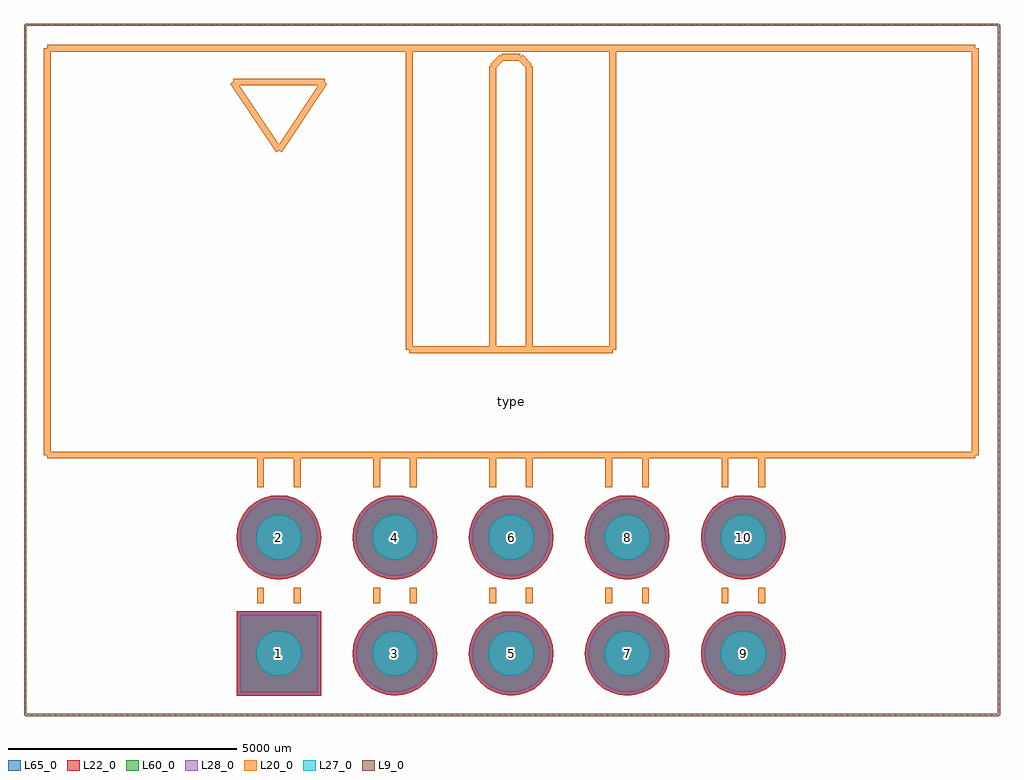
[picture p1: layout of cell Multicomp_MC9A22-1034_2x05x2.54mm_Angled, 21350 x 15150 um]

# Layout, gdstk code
import gdstk
lib = gdstk.Library(unit=1e-6, precision=1e-09)
def R(c, l, rs):  # rectangles x0, y0, x1, y1
    for r in rs: c.add(gdstk.rectangle(r[:2], r[2:], *l))
def P(c, l, *ps):  # polygons
    for p in ps: c.add(gdstk.Polygon(p, *l))
L9_0 = (9, 0)
L20_0 = (20, 0)
L22_0 = (22, 0)
L27_0 = (27, 0)
L28_0 = (28, 0)
L60_0 = (60, 0)
L65_0 = (65, 0)

multicomp_mc9a22_1034_2x = lib.new_cell('Multicomp_MC9A22-1034_2x05x2.54mm_Angled')
R(multicomp_mc9a22_1034_2x, L22_0, [(-925,-925,925,925)])
P(multicomp_mc9a22_1034_2x, L22_0, [(11085,2540),(11067.226,2720.459),(11014.589,2893.982),(10929.109,3053.902),(10814.074,3194.074),(10673.902,3309.109),(10513.982,3394.589),(10340.459,3447.226),(10160,3465),(9979.541,3447.226),(9806.018,3394.589),(9646.098,3309.109),(9505.926,3194.074),(9390.891,3053.902),(9305.411,2893.982),(9252.774,2720.459),(9235,2540),(9252.774,2359.541),(9305.411,2186.018),(9390.891,2026.098),(9505.926,1885.926),(9646.098,1770.891),(9806.018,1685.411),(9979.541,1632.774),(10160,1615),(10340.459,1632.774),(10513.982,1685.411),(10673.902,1770.891),(10814.074,1885.926),(10929.109,2026.098),(11014.589,2186.018),(11067.226,2359.541)],
  [(11085,0),(11067.226,180.459),(11014.589,353.982),(10929.109,513.902),(10814.074,654.074),(10673.902,769.109),(10513.982,854.589),(10340.459,907.226),(10160,925),(9979.541,907.226),(9806.018,854.589),(9646.098,769.109),(9505.926,654.074),(9390.891,513.902),(9305.411,353.982),(9252.774,180.459),(9235,0),(9252.774,-180.459),(9305.411,-353.982),(9390.891,-513.902),(9505.926,-654.074),(9646.098,-769.109),(9806.018,-854.589),(9979.541,-907.226),(10160,-925),(10340.459,-907.226),(10513.982,-854.589),(10673.902,-769.109),(10814.074,-654.074),(10929.109,-513.902),(11014.589,-353.982),(11067.226,-180.459)],
  [(8545,2540),(8527.226,2720.459),(8474.589,2893.982),(8389.109,3053.902),(8274.074,3194.074),(8133.902,3309.109),(7973.982,3394.589),(7800.459,3447.226),(7620,3465),(7439.541,3447.226),(7266.018,3394.589),(7106.098,3309.109),(6965.926,3194.074),(6850.891,3053.902),(6765.411,2893.982),(6712.774,2720.459),(6695,2540),(6712.774,2359.541),(6765.411,2186.018),(6850.891,2026.098),(6965.926,1885.926),(7106.098,1770.891),(7266.018,1685.411),(7439.541,1632.774),(7620,1615),(7800.459,1632.774),(7973.982,1685.411),(8133.902,1770.891),(8274.074,1885.926),(8389.109,2026.098),(8474.589,2186.018),(8527.226,2359.541)],
  [(8545,0),(8527.226,180.459),(8474.589,353.982),(8389.109,513.902),(8274.074,654.074),(8133.902,769.109),(7973.982,854.589),(7800.459,907.226),(7620,925),(7439.541,907.226),(7266.018,854.589),(7106.098,769.109),(6965.926,654.074),(6850.891,513.902),(6765.411,353.982),(6712.774,180.459),(6695,0),(6712.774,-180.459),(6765.411,-353.982),(6850.891,-513.902),(6965.926,-654.074),(7106.098,-769.109),(7266.018,-854.589),(7439.541,-907.226),(7620,-925),(7800.459,-907.226),(7973.982,-854.589),(8133.902,-769.109),(8274.074,-654.074),(8389.109,-513.902),(8474.589,-353.982),(8527.226,-180.459)],
  [(6005,2540),(5987.226,2720.459),(5934.589,2893.982),(5849.109,3053.902),(5734.074,3194.074),(5593.902,3309.109),(5433.982,3394.589),(5260.459,3447.226),(5080,3465),(4899.541,3447.226),(4726.018,3394.589),(4566.098,3309.109),(4425.926,3194.074),(4310.891,3053.902),(4225.411,2893.982),(4172.774,2720.459),(4155,2540),(4172.774,2359.541),(4225.411,2186.018),(4310.891,2026.098),(4425.926,1885.926),(4566.098,1770.891),(4726.018,1685.411),(4899.541,1632.774),(5080,1615),(5260.459,1632.774),(5433.982,1685.411),(5593.902,1770.891),(5734.074,1885.926),(5849.109,2026.098),(5934.589,2186.018),(5987.226,2359.541)],
  [(6005,0),(5987.226,180.459),(5934.589,353.982),(5849.109,513.902),(5734.074,654.074),(5593.902,769.109),(5433.982,854.589),(5260.459,907.226),(5080,925),(4899.541,907.226),(4726.018,854.589),(4566.098,769.109),(4425.926,654.074),(4310.891,513.902),(4225.411,353.982),(4172.774,180.459),(4155,0),(4172.774,-180.459),(4225.411,-353.982),(4310.891,-513.902),(4425.926,-654.074),(4566.098,-769.109),(4726.018,-854.589),(4899.541,-907.226),(5080,-925),(5260.459,-907.226),(5433.982,-854.589),(5593.902,-769.109),(5734.074,-654.074),(5849.109,-513.902),(5934.589,-353.982),(5987.226,-180.459)],
  [(3465,2540),(3447.226,2720.459),(3394.589,2893.982),(3309.109,3053.902),(3194.074,3194.074),(3053.902,3309.109),(2893.982,3394.589),(2720.459,3447.226),(2540,3465),(2359.541,3447.226),(2186.018,3394.589),(2026.098,3309.109),(1885.926,3194.074),(1770.891,3053.902),(1685.411,2893.982),(1632.774,2720.459),(1615,2540),(1632.774,2359.541),(1685.411,2186.018),(1770.891,2026.098),(1885.926,1885.926),(2026.098,1770.891),(2186.018,1685.411),(2359.541,1632.774),(2540,1615),(2720.459,1632.774),(2893.982,1685.411),(3053.902,1770.891),(3194.074,1885.926),(3309.109,2026.098),(3394.589,2186.018),(3447.226,2359.541)],
  [(3465,0),(3447.226,180.459),(3394.589,353.982),(3309.109,513.902),(3194.074,654.074),(3053.902,769.109),(2893.982,854.589),(2720.459,907.226),(2540,925),(2359.541,907.226),(2186.018,854.589),(2026.098,769.109),(1885.926,654.074),(1770.891,513.902),(1685.411,353.982),(1632.774,180.459),(1615,0),(1632.774,-180.459),(1685.411,-353.982),(1770.891,-513.902),(1885.926,-654.074),(2026.098,-769.109),(2186.018,-854.589),(2359.541,-907.226),(2540,-925),(2720.459,-907.226),(2893.982,-854.589),(3053.902,-769.109),(3194.074,-654.074),(3309.109,-513.902),(3394.589,-353.982),(3447.226,-180.459)],
  [(925,2540),(907.226,2720.459),(854.589,2893.982),(769.109,3053.902),(654.074,3194.074),(513.902,3309.109),(353.982,3394.589),(180.459,3447.226),(0,3465),(-180.459,3447.226),(-353.982,3394.589),(-513.902,3309.109),(-654.074,3194.074),(-769.109,3053.902),(-854.589,2893.982),(-907.226,2720.459),(-925,2540),(-907.226,2359.541),(-854.589,2186.018),(-769.109,2026.098),(-654.074,1885.926),(-513.902,1770.891),(-353.982,1685.411),(-180.459,1632.774),(0,1615),(180.459,1632.774),(353.982,1685.411),(513.902,1770.891),(654.074,1885.926),(769.109,2026.098),(854.589,2186.018),(907.226,2359.541)])
P(multicomp_mc9a22_1034_2x, L27_0, [(10659.999,2540),(10650.392,2637.545),(10621.939,2731.341),(10575.734,2817.785),(10513.553,2893.553),(10437.785,2955.734),(10351.341,3001.939),(10257.545,3030.392),(10160,3039.999),(10062.455,3030.392),(9968.659,3001.939),(9882.215,2955.734),(9806.447,2893.553),(9744.266,2817.785),(9698.061,2731.341),(9669.608,2637.545),(9660.001,2540),(9669.608,2442.455),(9698.061,2348.659),(9744.266,2262.215),(9806.447,2186.447),(9882.215,2124.266),(9968.659,2078.061),(10062.455,2049.608),(10160,2040.001),(10257.545,2049.608),(10351.341,2078.061),(10437.785,2124.266),(10513.553,2186.447),(10575.734,2262.215),(10621.939,2348.659),(10650.392,2442.455)],
  [(10659.999,0),(10650.392,97.545),(10621.939,191.341),(10575.734,277.785),(10513.553,353.553),(10437.785,415.734),(10351.341,461.939),(10257.545,490.392),(10160,499.999),(10062.455,490.392),(9968.659,461.939),(9882.215,415.734),(9806.447,353.553),(9744.266,277.785),(9698.061,191.341),(9669.608,97.545),(9660.001,0),(9669.608,-97.545),(9698.061,-191.341),(9744.266,-277.785),(9806.447,-353.553),(9882.215,-415.734),(9968.659,-461.939),(10062.455,-490.392),(10160,-499.999),(10257.545,-490.392),(10351.341,-461.939),(10437.785,-415.734),(10513.553,-353.553),(10575.734,-277.785),(10621.939,-191.341),(10650.392,-97.545)],
  [(8119.999,2540),(8110.392,2637.545),(8081.939,2731.341),(8035.734,2817.785),(7973.553,2893.553),(7897.785,2955.734),(7811.341,3001.939),(7717.545,3030.392),(7620,3039.999),(7522.455,3030.392),(7428.659,3001.939),(7342.215,2955.734),(7266.447,2893.553),(7204.266,2817.785),(7158.061,2731.341),(7129.608,2637.545),(7120.001,2540),(7129.608,2442.455),(7158.061,2348.659),(7204.266,2262.215),(7266.447,2186.447),(7342.215,2124.266),(7428.659,2078.061),(7522.455,2049.608),(7620,2040.001),(7717.545,2049.608),(7811.341,2078.061),(7897.785,2124.266),(7973.553,2186.447),(8035.734,2262.215),(8081.939,2348.659),(8110.392,2442.455)],
  [(8119.999,0),(8110.392,97.545),(8081.939,191.341),(8035.734,277.785),(7973.553,353.553),(7897.785,415.734),(7811.341,461.939),(7717.545,490.392),(7620,499.999),(7522.455,490.392),(7428.659,461.939),(7342.215,415.734),(7266.447,353.553),(7204.266,277.785),(7158.061,191.341),(7129.608,97.545),(7120.001,0),(7129.608,-97.545),(7158.061,-191.341),(7204.266,-277.785),(7266.447,-353.553),(7342.215,-415.734),(7428.659,-461.939),(7522.455,-490.392),(7620,-499.999),(7717.545,-490.392),(7811.341,-461.939),(7897.785,-415.734),(7973.553,-353.553),(8035.734,-277.785),(8081.939,-191.341),(8110.392,-97.545)],
  [(5579.999,2540),(5570.392,2637.545),(5541.939,2731.341),(5495.734,2817.785),(5433.553,2893.553),(5357.785,2955.734),(5271.341,3001.939),(5177.545,3030.392),(5080,3039.999),(4982.455,3030.392),(4888.659,3001.939),(4802.215,2955.734),(4726.447,2893.553),(4664.266,2817.785),(4618.061,2731.341),(4589.608,2637.545),(4580.001,2540),(4589.608,2442.455),(4618.061,2348.659),(4664.266,2262.215),(4726.447,2186.447),(4802.215,2124.266),(4888.659,2078.061),(4982.455,2049.608),(5080,2040.001),(5177.545,2049.608),(5271.341,2078.061),(5357.785,2124.266),(5433.553,2186.447),(5495.734,2262.215),(5541.939,2348.659),(5570.392,2442.455)],
  [(5579.999,0),(5570.392,97.545),(5541.939,191.341),(5495.734,277.785),(5433.553,353.553),(5357.785,415.734),(5271.341,461.939),(5177.545,490.392),(5080,499.999),(4982.455,490.392),(4888.659,461.939),(4802.215,415.734),(4726.447,353.553),(4664.266,277.785),(4618.061,191.341),(4589.608,97.545),(4580.001,0),(4589.608,-97.545),(4618.061,-191.341),(4664.266,-277.785),(4726.447,-353.553),(4802.215,-415.734),(4888.659,-461.939),(4982.455,-490.392),(5080,-499.999),(5177.545,-490.392),(5271.341,-461.939),(5357.785,-415.734),(5433.553,-353.553),(5495.734,-277.785),(5541.939,-191.341),(5570.392,-97.545)],
  [(3039.999,2540),(3030.392,2637.545),(3001.939,2731.341),(2955.734,2817.785),(2893.553,2893.553),(2817.785,2955.734),(2731.341,3001.939),(2637.545,3030.392),(2540,3039.999),(2442.455,3030.392),(2348.659,3001.939),(2262.215,2955.734),(2186.447,2893.553),(2124.266,2817.785),(2078.061,2731.341),(2049.608,2637.545),(2040.001,2540),(2049.608,2442.455),(2078.061,2348.659),(2124.266,2262.215),(2186.447,2186.447),(2262.215,2124.266),(2348.659,2078.061),(2442.455,2049.608),(2540,2040.001),(2637.545,2049.608),(2731.341,2078.061),(2817.785,2124.266),(2893.553,2186.447),(2955.734,2262.215),(3001.939,2348.659),(3030.392,2442.455)],
  [(3039.999,0),(3030.392,97.545),(3001.939,191.341),(2955.734,277.785),(2893.553,353.553),(2817.785,415.734),(2731.341,461.939),(2637.545,490.392),(2540,499.999),(2442.455,490.392),(2348.659,461.939),(2262.215,415.734),(2186.447,353.553),(2124.266,277.785),(2078.061,191.341),(2049.608,97.545),(2040.001,0),(2049.608,-97.545),(2078.061,-191.341),(2124.266,-277.785),(2186.447,-353.553),(2262.215,-415.734),(2348.659,-461.939),(2442.455,-490.392),(2540,-499.999),(2637.545,-490.392),(2731.341,-461.939),(2817.785,-415.734),(2893.553,-353.553),(2955.734,-277.785),(3001.939,-191.341),(3030.392,-97.545)],
  [(499.999,2540),(490.392,2637.545),(461.939,2731.341),(415.734,2817.785),(353.553,2893.553),(277.785,2955.734),(191.341,3001.939),(97.545,3030.392),(0,3039.999),(-97.545,3030.392),(-191.341,3001.939),(-277.785,2955.734),(-353.553,2893.553),(-415.734,2817.785),(-461.939,2731.341),(-490.392,2637.545),(-499.999,2540),(-490.392,2442.455),(-461.939,2348.659),(-415.734,2262.215),(-353.553,2186.447),(-277.785,2124.266),(-191.341,2078.061),(-97.545,2049.608),(0,2040.001),(97.545,2049.608),(191.341,2078.061),(277.785,2124.266),(353.553,2186.447),(415.734,2262.215),(461.939,2348.659),(490.392,2442.455)],
  [(499.999,0),(490.392,97.545),(461.939,191.341),(415.734,277.785),(353.553,353.553),(277.785,415.734),(191.341,461.939),(97.545,490.392),(0,499.999),(-97.545,490.392),(-191.341,461.939),(-277.785,415.734),(-353.553,353.553),(-415.734,277.785),(-461.939,191.341),(-490.392,97.545),(-499.999,0),(-490.392,-97.545),(-461.939,-191.341),(-415.734,-277.785),(-353.553,-353.553),(-277.785,-415.734),(-191.341,-461.939),(-97.545,-490.392),(0,-499.999),(97.545,-490.392),(191.341,-461.939),(277.785,-415.734),(353.553,-353.553),(415.734,-277.785),(461.939,-191.341),(490.392,-97.545)])
R(multicomp_mc9a22_1034_2x, L28_0, [(-850,-850,850,850)])
P(multicomp_mc9a22_1034_2x, L28_0, [(11010,2540),(10993.667,2705.827),(10945.298,2865.281),(10866.749,3012.235),(10761.041,3141.041),(10632.235,3246.749),(10485.281,3325.298),(10325.827,3373.667),(10160,3390),(9994.173,3373.667),(9834.719,3325.298),(9687.765,3246.749),(9558.959,3141.041),(9453.251,3012.235),(9374.702,2865.281),(9326.333,2705.827),(9310,2540),(9326.333,2374.173),(9374.702,2214.719),(9453.251,2067.765),(9558.959,1938.959),(9687.765,1833.251),(9834.719,1754.702),(9994.173,1706.333),(10160,1690),(10325.827,1706.333),(10485.281,1754.702),(10632.235,1833.251),(10761.041,1938.959),(10866.749,2067.765),(10945.298,2214.719),(10993.667,2374.173)],
  [(11010,0),(10993.667,165.827),(10945.298,325.281),(10866.749,472.235),(10761.041,601.041),(10632.235,706.749),(10485.281,785.298),(10325.827,833.667),(10160,850),(9994.173,833.667),(9834.719,785.298),(9687.765,706.749),(9558.959,601.041),(9453.251,472.235),(9374.702,325.281),(9326.333,165.827),(9310,0),(9326.333,-165.827),(9374.702,-325.281),(9453.251,-472.235),(9558.959,-601.041),(9687.765,-706.749),(9834.719,-785.298),(9994.173,-833.667),(10160,-850),(10325.827,-833.667),(10485.281,-785.298),(10632.235,-706.749),(10761.041,-601.041),(10866.749,-472.235),(10945.298,-325.281),(10993.667,-165.827)],
  [(8470,2540),(8453.667,2705.827),(8405.298,2865.281),(8326.749,3012.235),(8221.041,3141.041),(8092.235,3246.749),(7945.281,3325.298),(7785.827,3373.667),(7620,3390),(7454.173,3373.667),(7294.719,3325.298),(7147.765,3246.749),(7018.959,3141.041),(6913.251,3012.235),(6834.702,2865.281),(6786.333,2705.827),(6770,2540),(6786.333,2374.173),(6834.702,2214.719),(6913.251,2067.765),(7018.959,1938.959),(7147.765,1833.251),(7294.719,1754.702),(7454.173,1706.333),(7620,1690),(7785.827,1706.333),(7945.281,1754.702),(8092.235,1833.251),(8221.041,1938.959),(8326.749,2067.765),(8405.298,2214.719),(8453.667,2374.173)],
  [(8470,0),(8453.667,165.827),(8405.298,325.281),(8326.749,472.235),(8221.041,601.041),(8092.235,706.749),(7945.281,785.298),(7785.827,833.667),(7620,850),(7454.173,833.667),(7294.719,785.298),(7147.765,706.749),(7018.959,601.041),(6913.251,472.235),(6834.702,325.281),(6786.333,165.827),(6770,0),(6786.333,-165.827),(6834.702,-325.281),(6913.251,-472.235),(7018.959,-601.041),(7147.765,-706.749),(7294.719,-785.298),(7454.173,-833.667),(7620,-850),(7785.827,-833.667),(7945.281,-785.298),(8092.235,-706.749),(8221.041,-601.041),(8326.749,-472.235),(8405.298,-325.281),(8453.667,-165.827)],
  [(5930,2540),(5913.667,2705.827),(5865.298,2865.281),(5786.749,3012.235),(5681.041,3141.041),(5552.235,3246.749),(5405.281,3325.298),(5245.827,3373.667),(5080,3390),(4914.173,3373.667),(4754.719,3325.298),(4607.765,3246.749),(4478.959,3141.041),(4373.251,3012.235),(4294.702,2865.281),(4246.333,2705.827),(4230,2540),(4246.333,2374.173),(4294.702,2214.719),(4373.251,2067.765),(4478.959,1938.959),(4607.765,1833.251),(4754.719,1754.702),(4914.173,1706.333),(5080,1690),(5245.827,1706.333),(5405.281,1754.702),(5552.235,1833.251),(5681.041,1938.959),(5786.749,2067.765),(5865.298,2214.719),(5913.667,2374.173)],
  [(5930,0),(5913.667,165.827),(5865.298,325.281),(5786.749,472.235),(5681.041,601.041),(5552.235,706.749),(5405.281,785.298),(5245.827,833.667),(5080,850),(4914.173,833.667),(4754.719,785.298),(4607.765,706.749),(4478.959,601.041),(4373.251,472.235),(4294.702,325.281),(4246.333,165.827),(4230,0),(4246.333,-165.827),(4294.702,-325.281),(4373.251,-472.235),(4478.959,-601.041),(4607.765,-706.749),(4754.719,-785.298),(4914.173,-833.667),(5080,-850),(5245.827,-833.667),(5405.281,-785.298),(5552.235,-706.749),(5681.041,-601.041),(5786.749,-472.235),(5865.298,-325.281),(5913.667,-165.827)],
  [(3390,2540),(3373.667,2705.827),(3325.298,2865.281),(3246.749,3012.235),(3141.041,3141.041),(3012.235,3246.749),(2865.281,3325.298),(2705.827,3373.667),(2540,3390),(2374.173,3373.667),(2214.719,3325.298),(2067.765,3246.749),(1938.959,3141.041),(1833.251,3012.235),(1754.702,2865.281),(1706.333,2705.827),(1690,2540),(1706.333,2374.173),(1754.702,2214.719),(1833.251,2067.765),(1938.959,1938.959),(2067.765,1833.251),(2214.719,1754.702),(2374.173,1706.333),(2540,1690),(2705.827,1706.333),(2865.281,1754.702),(3012.235,1833.251),(3141.041,1938.959),(3246.749,2067.765),(3325.298,2214.719),(3373.667,2374.173)],
  [(3390,0),(3373.667,165.827),(3325.298,325.281),(3246.749,472.235),(3141.041,601.041),(3012.235,706.749),(2865.281,785.298),(2705.827,833.667),(2540,850),(2374.173,833.667),(2214.719,785.298),(2067.765,706.749),(1938.959,601.041),(1833.251,472.235),(1754.702,325.281),(1706.333,165.827),(1690,0),(1706.333,-165.827),(1754.702,-325.281),(1833.251,-472.235),(1938.959,-601.041),(2067.765,-706.749),(2214.719,-785.298),(2374.173,-833.667),(2540,-850),(2705.827,-833.667),(2865.281,-785.298),(3012.235,-706.749),(3141.041,-601.041),(3246.749,-472.235),(3325.298,-325.281),(3373.667,-165.827)],
  [(850,2540),(833.667,2705.827),(785.298,2865.281),(706.749,3012.235),(601.041,3141.041),(472.235,3246.749),(325.281,3325.298),(165.827,3373.667),(0,3390),(-165.827,3373.667),(-325.281,3325.298),(-472.235,3246.749),(-601.041,3141.041),(-706.749,3012.235),(-785.298,2865.281),(-833.667,2705.827),(-850,2540),(-833.667,2374.173),(-785.298,2214.719),(-706.749,2067.765),(-601.041,1938.959),(-472.235,1833.251),(-325.281,1754.702),(-165.827,1706.333),(0,1690),(165.827,1706.333),(325.281,1754.702),(472.235,1833.251),(601.041,1938.959),(706.749,2067.765),(785.298,2214.719),(833.667,2374.173)])
R(multicomp_mc9a22_1034_2x, L60_0, [(-850,-850,850,850)])
P(multicomp_mc9a22_1034_2x, L60_0, [(11010,2540),(10993.667,2705.827),(10945.298,2865.281),(10866.749,3012.235),(10761.041,3141.041),(10632.235,3246.749),(10485.281,3325.298),(10325.827,3373.667),(10160,3390),(9994.173,3373.667),(9834.719,3325.298),(9687.765,3246.749),(9558.959,3141.041),(9453.251,3012.235),(9374.702,2865.281),(9326.333,2705.827),(9310,2540),(9326.333,2374.173),(9374.702,2214.719),(9453.251,2067.765),(9558.959,1938.959),(9687.765,1833.251),(9834.719,1754.702),(9994.173,1706.333),(10160,1690),(10325.827,1706.333),(10485.281,1754.702),(10632.235,1833.251),(10761.041,1938.959),(10866.749,2067.765),(10945.298,2214.719),(10993.667,2374.173)],
  [(11010,0),(10993.667,165.827),(10945.298,325.281),(10866.749,472.235),(10761.041,601.041),(10632.235,706.749),(10485.281,785.298),(10325.827,833.667),(10160,850),(9994.173,833.667),(9834.719,785.298),(9687.765,706.749),(9558.959,601.041),(9453.251,472.235),(9374.702,325.281),(9326.333,165.827),(9310,0),(9326.333,-165.827),(9374.702,-325.281),(9453.251,-472.235),(9558.959,-601.041),(9687.765,-706.749),(9834.719,-785.298),(9994.173,-833.667),(10160,-850),(10325.827,-833.667),(10485.281,-785.298),(10632.235,-706.749),(10761.041,-601.041),(10866.749,-472.235),(10945.298,-325.281),(10993.667,-165.827)],
  [(8470,2540),(8453.667,2705.827),(8405.298,2865.281),(8326.749,3012.235),(8221.041,3141.041),(8092.235,3246.749),(7945.281,3325.298),(7785.827,3373.667),(7620,3390),(7454.173,3373.667),(7294.719,3325.298),(7147.765,3246.749),(7018.959,3141.041),(6913.251,3012.235),(6834.702,2865.281),(6786.333,2705.827),(6770,2540),(6786.333,2374.173),(6834.702,2214.719),(6913.251,2067.765),(7018.959,1938.959),(7147.765,1833.251),(7294.719,1754.702),(7454.173,1706.333),(7620,1690),(7785.827,1706.333),(7945.281,1754.702),(8092.235,1833.251),(8221.041,1938.959),(8326.749,2067.765),(8405.298,2214.719),(8453.667,2374.173)],
  [(8470,0),(8453.667,165.827),(8405.298,325.281),(8326.749,472.235),(8221.041,601.041),(8092.235,706.749),(7945.281,785.298),(7785.827,833.667),(7620,850),(7454.173,833.667),(7294.719,785.298),(7147.765,706.749),(7018.959,601.041),(6913.251,472.235),(6834.702,325.281),(6786.333,165.827),(6770,0),(6786.333,-165.827),(6834.702,-325.281),(6913.251,-472.235),(7018.959,-601.041),(7147.765,-706.749),(7294.719,-785.298),(7454.173,-833.667),(7620,-850),(7785.827,-833.667),(7945.281,-785.298),(8092.235,-706.749),(8221.041,-601.041),(8326.749,-472.235),(8405.298,-325.281),(8453.667,-165.827)],
  [(5930,2540),(5913.667,2705.827),(5865.298,2865.281),(5786.749,3012.235),(5681.041,3141.041),(5552.235,3246.749),(5405.281,3325.298),(5245.827,3373.667),(5080,3390),(4914.173,3373.667),(4754.719,3325.298),(4607.765,3246.749),(4478.959,3141.041),(4373.251,3012.235),(4294.702,2865.281),(4246.333,2705.827),(4230,2540),(4246.333,2374.173),(4294.702,2214.719),(4373.251,2067.765),(4478.959,1938.959),(4607.765,1833.251),(4754.719,1754.702),(4914.173,1706.333),(5080,1690),(5245.827,1706.333),(5405.281,1754.702),(5552.235,1833.251),(5681.041,1938.959),(5786.749,2067.765),(5865.298,2214.719),(5913.667,2374.173)],
  [(5930,0),(5913.667,165.827),(5865.298,325.281),(5786.749,472.235),(5681.041,601.041),(5552.235,706.749),(5405.281,785.298),(5245.827,833.667),(5080,850),(4914.173,833.667),(4754.719,785.298),(4607.765,706.749),(4478.959,601.041),(4373.251,472.235),(4294.702,325.281),(4246.333,165.827),(4230,0),(4246.333,-165.827),(4294.702,-325.281),(4373.251,-472.235),(4478.959,-601.041),(4607.765,-706.749),(4754.719,-785.298),(4914.173,-833.667),(5080,-850),(5245.827,-833.667),(5405.281,-785.298),(5552.235,-706.749),(5681.041,-601.041),(5786.749,-472.235),(5865.298,-325.281),(5913.667,-165.827)],
  [(3390,2540),(3373.667,2705.827),(3325.298,2865.281),(3246.749,3012.235),(3141.041,3141.041),(3012.235,3246.749),(2865.281,3325.298),(2705.827,3373.667),(2540,3390),(2374.173,3373.667),(2214.719,3325.298),(2067.765,3246.749),(1938.959,3141.041),(1833.251,3012.235),(1754.702,2865.281),(1706.333,2705.827),(1690,2540),(1706.333,2374.173),(1754.702,2214.719),(1833.251,2067.765),(1938.959,1938.959),(2067.765,1833.251),(2214.719,1754.702),(2374.173,1706.333),(2540,1690),(2705.827,1706.333),(2865.281,1754.702),(3012.235,1833.251),(3141.041,1938.959),(3246.749,2067.765),(3325.298,2214.719),(3373.667,2374.173)],
  [(3390,0),(3373.667,165.827),(3325.298,325.281),(3246.749,472.235),(3141.041,601.041),(3012.235,706.749),(2865.281,785.298),(2705.827,833.667),(2540,850),(2374.173,833.667),(2214.719,785.298),(2067.765,706.749),(1938.959,601.041),(1833.251,472.235),(1754.702,325.281),(1706.333,165.827),(1690,0),(1706.333,-165.827),(1754.702,-325.281),(1833.251,-472.235),(1938.959,-601.041),(2067.765,-706.749),(2214.719,-785.298),(2374.173,-833.667),(2540,-850),(2705.827,-833.667),(2865.281,-785.298),(3012.235,-706.749),(3141.041,-601.041),(3246.749,-472.235),(3325.298,-325.281),(3373.667,-165.827)],
  [(850,2540),(833.667,2705.827),(785.298,2865.281),(706.749,3012.235),(601.041,3141.041),(472.235,3246.749),(325.281,3325.298),(165.827,3373.667),(0,3390),(-165.827,3373.667),(-325.281,3325.298),(-472.235,3246.749),(-601.041,3141.041),(-706.749,3012.235),(-785.298,2865.281),(-833.667,2705.827),(-850,2540),(-833.667,2374.173),(-785.298,2214.719),(-706.749,2067.765),(-601.041,1938.959),(-472.235,1833.251),(-325.281,1754.702),(-165.827,1706.333),(0,1690),(165.827,1706.333),(325.281,1754.702),(472.235,1833.251),(601.041,1938.959),(706.749,2067.765),(785.298,2214.719),(833.667,2374.173)])
R(multicomp_mc9a22_1034_2x, L65_0, [(-925,-925,925,925)])
P(multicomp_mc9a22_1034_2x, L65_0, [(11085,2540),(11067.226,2720.459),(11014.589,2893.982),(10929.109,3053.902),(10814.074,3194.074),(10673.902,3309.109),(10513.982,3394.589),(10340.459,3447.226),(10160,3465),(9979.541,3447.226),(9806.018,3394.589),(9646.098,3309.109),(9505.926,3194.074),(9390.891,3053.902),(9305.411,2893.982),(9252.774,2720.459),(9235,2540),(9252.774,2359.541),(9305.411,2186.018),(9390.891,2026.098),(9505.926,1885.926),(9646.098,1770.891),(9806.018,1685.411),(9979.541,1632.774),(10160,1615),(10340.459,1632.774),(10513.982,1685.411),(10673.902,1770.891),(10814.074,1885.926),(10929.109,2026.098),(11014.589,2186.018),(11067.226,2359.541)],
  [(11085,0),(11067.226,180.459),(11014.589,353.982),(10929.109,513.902),(10814.074,654.074),(10673.902,769.109),(10513.982,854.589),(10340.459,907.226),(10160,925),(9979.541,907.226),(9806.018,854.589),(9646.098,769.109),(9505.926,654.074),(9390.891,513.902),(9305.411,353.982),(9252.774,180.459),(9235,0),(9252.774,-180.459),(9305.411,-353.982),(9390.891,-513.902),(9505.926,-654.074),(9646.098,-769.109),(9806.018,-854.589),(9979.541,-907.226),(10160,-925),(10340.459,-907.226),(10513.982,-854.589),(10673.902,-769.109),(10814.074,-654.074),(10929.109,-513.902),(11014.589,-353.982),(11067.226,-180.459)],
  [(8545,2540),(8527.226,2720.459),(8474.589,2893.982),(8389.109,3053.902),(8274.074,3194.074),(8133.902,3309.109),(7973.982,3394.589),(7800.459,3447.226),(7620,3465),(7439.541,3447.226),(7266.018,3394.589),(7106.098,3309.109),(6965.926,3194.074),(6850.891,3053.902),(6765.411,2893.982),(6712.774,2720.459),(6695,2540),(6712.774,2359.541),(6765.411,2186.018),(6850.891,2026.098),(6965.926,1885.926),(7106.098,1770.891),(7266.018,1685.411),(7439.541,1632.774),(7620,1615),(7800.459,1632.774),(7973.982,1685.411),(8133.902,1770.891),(8274.074,1885.926),(8389.109,2026.098),(8474.589,2186.018),(8527.226,2359.541)],
  [(8545,0),(8527.226,180.459),(8474.589,353.982),(8389.109,513.902),(8274.074,654.074),(8133.902,769.109),(7973.982,854.589),(7800.459,907.226),(7620,925),(7439.541,907.226),(7266.018,854.589),(7106.098,769.109),(6965.926,654.074),(6850.891,513.902),(6765.411,353.982),(6712.774,180.459),(6695,0),(6712.774,-180.459),(6765.411,-353.982),(6850.891,-513.902),(6965.926,-654.074),(7106.098,-769.109),(7266.018,-854.589),(7439.541,-907.226),(7620,-925),(7800.459,-907.226),(7973.982,-854.589),(8133.902,-769.109),(8274.074,-654.074),(8389.109,-513.902),(8474.589,-353.982),(8527.226,-180.459)],
  [(6005,2540),(5987.226,2720.459),(5934.589,2893.982),(5849.109,3053.902),(5734.074,3194.074),(5593.902,3309.109),(5433.982,3394.589),(5260.459,3447.226),(5080,3465),(4899.541,3447.226),(4726.018,3394.589),(4566.098,3309.109),(4425.926,3194.074),(4310.891,3053.902),(4225.411,2893.982),(4172.774,2720.459),(4155,2540),(4172.774,2359.541),(4225.411,2186.018),(4310.891,2026.098),(4425.926,1885.926),(4566.098,1770.891),(4726.018,1685.411),(4899.541,1632.774),(5080,1615),(5260.459,1632.774),(5433.982,1685.411),(5593.902,1770.891),(5734.074,1885.926),(5849.109,2026.098),(5934.589,2186.018),(5987.226,2359.541)],
  [(6005,0),(5987.226,180.459),(5934.589,353.982),(5849.109,513.902),(5734.074,654.074),(5593.902,769.109),(5433.982,854.589),(5260.459,907.226),(5080,925),(4899.541,907.226),(4726.018,854.589),(4566.098,769.109),(4425.926,654.074),(4310.891,513.902),(4225.411,353.982),(4172.774,180.459),(4155,0),(4172.774,-180.459),(4225.411,-353.982),(4310.891,-513.902),(4425.926,-654.074),(4566.098,-769.109),(4726.018,-854.589),(4899.541,-907.226),(5080,-925),(5260.459,-907.226),(5433.982,-854.589),(5593.902,-769.109),(5734.074,-654.074),(5849.109,-513.902),(5934.589,-353.982),(5987.226,-180.459)],
  [(3465,2540),(3447.226,2720.459),(3394.589,2893.982),(3309.109,3053.902),(3194.074,3194.074),(3053.902,3309.109),(2893.982,3394.589),(2720.459,3447.226),(2540,3465),(2359.541,3447.226),(2186.018,3394.589),(2026.098,3309.109),(1885.926,3194.074),(1770.891,3053.902),(1685.411,2893.982),(1632.774,2720.459),(1615,2540),(1632.774,2359.541),(1685.411,2186.018),(1770.891,2026.098),(1885.926,1885.926),(2026.098,1770.891),(2186.018,1685.411),(2359.541,1632.774),(2540,1615),(2720.459,1632.774),(2893.982,1685.411),(3053.902,1770.891),(3194.074,1885.926),(3309.109,2026.098),(3394.589,2186.018),(3447.226,2359.541)],
  [(3465,0),(3447.226,180.459),(3394.589,353.982),(3309.109,513.902),(3194.074,654.074),(3053.902,769.109),(2893.982,854.589),(2720.459,907.226),(2540,925),(2359.541,907.226),(2186.018,854.589),(2026.098,769.109),(1885.926,654.074),(1770.891,513.902),(1685.411,353.982),(1632.774,180.459),(1615,0),(1632.774,-180.459),(1685.411,-353.982),(1770.891,-513.902),(1885.926,-654.074),(2026.098,-769.109),(2186.018,-854.589),(2359.541,-907.226),(2540,-925),(2720.459,-907.226),(2893.982,-854.589),(3053.902,-769.109),(3194.074,-654.074),(3309.109,-513.902),(3394.589,-353.982),(3447.226,-180.459)],
  [(925,2540),(907.226,2720.459),(854.589,2893.982),(769.109,3053.902),(654.074,3194.074),(513.902,3309.109),(353.982,3394.589),(180.459,3447.226),(0,3465),(-180.459,3447.226),(-353.982,3394.589),(-513.902,3309.109),(-654.074,3194.074),(-769.109,3053.902),(-854.589,2893.982),(-907.226,2720.459),(-925,2540),(-907.226,2359.541),(-854.589,2186.018),(-769.109,2026.098),(-654.074,1885.926),(-513.902,1770.891),(-353.982,1685.411),(-180.459,1632.774),(0,1615),(180.459,1632.774),(353.982,1685.411),(513.902,1770.891),(654.074,1885.926),(769.109,2026.098),(854.589,2186.018),(907.226,2359.541)])
multicomp_mc9a22_1034_2x.add(gdstk.FlexPath([(10560,3640),(10560,4340)], 149.998, ends="flush", simple_path=True, layer=20, datatype=0))  # L20_0
multicomp_mc9a22_1034_2x.add(gdstk.FlexPath([(9760,3640),(9760,4340)], 149.998, ends="flush", simple_path=True, layer=20, datatype=0))  # L20_0
multicomp_mc9a22_1034_2x.add(gdstk.FlexPath([(10560,1100),(10560,1440)], 149.998, ends="flush", simple_path=True, layer=20, datatype=0))  # L20_0
multicomp_mc9a22_1034_2x.add(gdstk.FlexPath([(9760,1100),(9760,1440)], 149.998, ends="flush", simple_path=True, layer=20, datatype=0))  # L20_0
multicomp_mc9a22_1034_2x.add(gdstk.FlexPath([(8020,3640),(8020,4340)], 149.998, ends="flush", simple_path=True, layer=20, datatype=0))  # L20_0
multicomp_mc9a22_1034_2x.add(gdstk.FlexPath([(7220,3640),(7220,4340)], 149.998, ends="flush", simple_path=True, layer=20, datatype=0))  # L20_0
multicomp_mc9a22_1034_2x.add(gdstk.FlexPath([(8020,1100),(8020,1440)], 149.998, ends="flush", simple_path=True, layer=20, datatype=0))  # L20_0
multicomp_mc9a22_1034_2x.add(gdstk.FlexPath([(7220,1100),(7220,1440)], 149.998, ends="flush", simple_path=True, layer=20, datatype=0))  # L20_0
multicomp_mc9a22_1034_2x.add(gdstk.FlexPath([(5480,3640),(5480,4340)], 149.998, ends="flush", simple_path=True, layer=20, datatype=0))  # L20_0
multicomp_mc9a22_1034_2x.add(gdstk.FlexPath([(4680,3640),(4680,4340)], 149.998, ends="flush", simple_path=True, layer=20, datatype=0))  # L20_0
multicomp_mc9a22_1034_2x.add(gdstk.FlexPath([(5480,1100),(5480,1440)], 149.998, ends="flush", simple_path=True, layer=20, datatype=0))  # L20_0
multicomp_mc9a22_1034_2x.add(gdstk.FlexPath([(4680,1100),(4680,1440)], 149.998, ends="flush", simple_path=True, layer=20, datatype=0))  # L20_0
multicomp_mc9a22_1034_2x.add(gdstk.FlexPath([(2940,3640),(2940,4340)], 149.998, ends="flush", simple_path=True, layer=20, datatype=0))  # L20_0
multicomp_mc9a22_1034_2x.add(gdstk.FlexPath([(2140,3640),(2140,4340)], 149.998, ends="flush", simple_path=True, layer=20, datatype=0))  # L20_0
multicomp_mc9a22_1034_2x.add(gdstk.FlexPath([(2940,1100),(2940,1440)], 149.998, ends="flush", simple_path=True, layer=20, datatype=0))  # L20_0
multicomp_mc9a22_1034_2x.add(gdstk.FlexPath([(2140,1100),(2140,1440)], 149.998, ends="flush", simple_path=True, layer=20, datatype=0))  # L20_0
multicomp_mc9a22_1034_2x.add(gdstk.FlexPath([(400,3640),(400,4340)], 149.998, ends="flush", simple_path=True, layer=20, datatype=0))  # L20_0
multicomp_mc9a22_1034_2x.add(gdstk.FlexPath([(-400,3640),(-400,4340)], 149.998, ends="flush", simple_path=True, layer=20, datatype=0))  # L20_0
multicomp_mc9a22_1034_2x.add(gdstk.FlexPath([(400,1100),(400,1440)], 149.998, ends="flush", simple_path=True, layer=20, datatype=0))  # L20_0
multicomp_mc9a22_1034_2x.add(gdstk.FlexPath([(-400,1100),(-400,1440)], 149.998, ends="flush", simple_path=True, layer=20, datatype=0))  # L20_0
multicomp_mc9a22_1034_2x.add(gdstk.FlexPath([(15750,-1350),(-5550,-1350)], 50, ends="flush", simple_path=True, layer=9, datatype=0))  # L9_0
multicomp_mc9a22_1034_2x.add(gdstk.FlexPath([(15750,13750),(15750,-1350)], 50, ends="flush", simple_path=True, layer=9, datatype=0))  # L9_0
multicomp_mc9a22_1034_2x.add(gdstk.FlexPath([(-5550,13750),(15750,13750)], 50, ends="flush", simple_path=True, layer=9, datatype=0))  # L9_0
multicomp_mc9a22_1034_2x.add(gdstk.FlexPath([(-5550,-1350),(-5550,13750)], 50, ends="flush", simple_path=True, layer=9, datatype=0))  # L9_0
multicomp_mc9a22_1034_2x.add(gdstk.FlexPath([(0,11000),(-1000,12500)], 149.998, ends="flush", simple_path=True, layer=20, datatype=0))  # L20_0
multicomp_mc9a22_1034_2x.add(gdstk.FlexPath([(1000,12500),(0,11000)], 149.998, ends="flush", simple_path=True, layer=20, datatype=0))  # L20_0
multicomp_mc9a22_1034_2x.add(gdstk.FlexPath([(-1000,12500),(1000,12500)], 149.998, ends="flush", simple_path=True, layer=20, datatype=0))  # L20_0
multicomp_mc9a22_1034_2x.add(gdstk.FlexPath([(5480,12840),(5480,6640)], 149.998, ends="flush", simple_path=True, layer=20, datatype=0))  # L20_0
multicomp_mc9a22_1034_2x.add(gdstk.FlexPath([(5280,13040),(5480,12840)], 149.998, ends="flush", simple_path=True, layer=20, datatype=0))  # L20_0
multicomp_mc9a22_1034_2x.add(gdstk.FlexPath([(4880,13040),(5280,13040)], 149.998, ends="flush", simple_path=True, layer=20, datatype=0))  # L20_0
multicomp_mc9a22_1034_2x.add(gdstk.FlexPath([(4680,12840),(4880,13040)], 149.998, ends="flush", simple_path=True, layer=20, datatype=0))  # L20_0
multicomp_mc9a22_1034_2x.add(gdstk.FlexPath([(4680,6640),(4680,12840)], 149.998, ends="flush", simple_path=True, layer=20, datatype=0))  # L20_0
multicomp_mc9a22_1034_2x.add(gdstk.FlexPath([(7305,6640),(7305,13240)], 149.998, ends="flush", simple_path=True, layer=20, datatype=0))  # L20_0
multicomp_mc9a22_1034_2x.add(gdstk.FlexPath([(2855,6640),(7305,6640)], 149.998, ends="flush", simple_path=True, layer=20, datatype=0))  # L20_0
multicomp_mc9a22_1034_2x.add(gdstk.FlexPath([(2855,13240),(2855,6640)], 149.998, ends="flush", simple_path=True, layer=20, datatype=0))  # L20_0
multicomp_mc9a22_1034_2x.add(gdstk.FlexPath([(15230,4340),(-5070,4340)], 149.998, ends="flush", simple_path=True, layer=20, datatype=0))  # L20_0
multicomp_mc9a22_1034_2x.add(gdstk.FlexPath([(15230,13240),(15230,4340)], 149.998, ends="flush", simple_path=True, layer=20, datatype=0))  # L20_0
multicomp_mc9a22_1034_2x.add(gdstk.FlexPath([(-5070,13240),(15230,13240)], 149.998, ends="flush", simple_path=True, layer=20, datatype=0))  # L20_0
multicomp_mc9a22_1034_2x.add(gdstk.FlexPath([(-5070,4340),(-5070,13240)], 149.998, ends="flush", simple_path=True, layer=20, datatype=0))  # L20_0
multicomp_mc9a22_1034_2x.add(gdstk.Label('10', (10160,2540), layer=28, texttype=0))
multicomp_mc9a22_1034_2x.add(gdstk.Label('9', (10160,0), layer=28, texttype=0))
multicomp_mc9a22_1034_2x.add(gdstk.Label('8', (7620,2540), layer=28, texttype=0))
multicomp_mc9a22_1034_2x.add(gdstk.Label('7', (7620,0), layer=28, texttype=0))
multicomp_mc9a22_1034_2x.add(gdstk.Label('6', (5080,2540), layer=28, texttype=0))
multicomp_mc9a22_1034_2x.add(gdstk.Label('5', (5080,0), layer=28, texttype=0))
multicomp_mc9a22_1034_2x.add(gdstk.Label('4', (2540,2540), layer=28, texttype=0))
multicomp_mc9a22_1034_2x.add(gdstk.Label('3', (2540,0), layer=28, texttype=0))
multicomp_mc9a22_1034_2x.add(gdstk.Label('2', (0,2540), layer=28, texttype=0))
multicomp_mc9a22_1034_2x.add(gdstk.Label('1', (0,0), layer=28, texttype=0))
multicomp_mc9a22_1034_2x.add(gdstk.Label('type', (5080,5500), layer=9, texttype=0))
multicomp_mc9a22_1034_2x.add(gdstk.Label('devicename', (-3000,15000), layer=9, texttype=0))

lib.write_gds('Multicomp_MC9A22-1034_2x05x2.54mm_Angled.gds')
